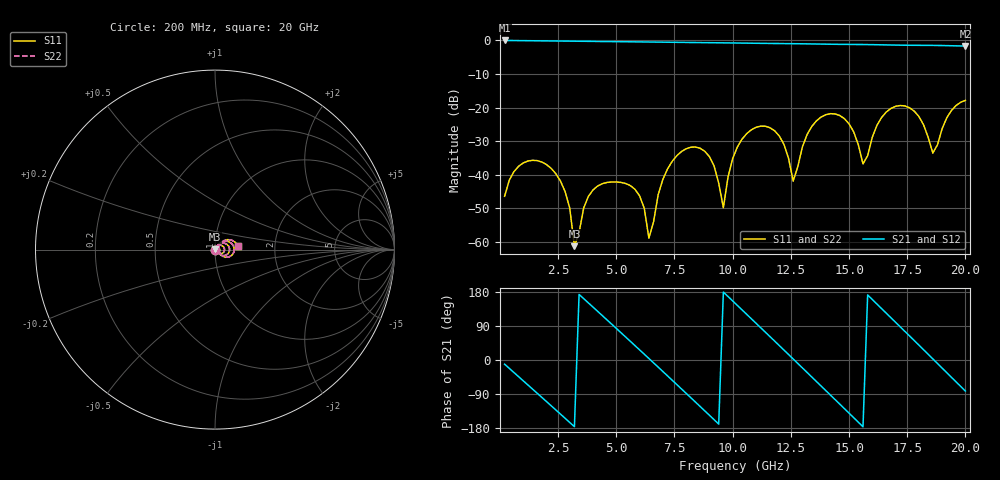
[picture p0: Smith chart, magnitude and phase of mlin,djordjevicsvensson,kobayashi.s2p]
! Created Wed May 11 08:06:12 2022
# hz S ma R 50
! 2 Port Network Data from SP1.SP block
! freq  magS11  angS11  magS21  angS21  magS12  angS12  magS22  angS22
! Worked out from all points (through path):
!   100 points, 200 MHz to 20 GHz, reference 50 ohm
!   highest |S21| = -0.02 dB at 200 MHz (marker M1); lowest = -1.7 dB at 20 GHz (marker M2)
!   group delay of S21, straight-line fit = 162 ps
!   lowest |S11| = -61.2 dB at 3.2 GHz (marker M3), VSWR 1.00, Z = 50 + j0.0827 ohm
!   |S11| at or under -10 dB: start of sweep to end of sweep
!   |S22| runs from -61.2 to -17.9 dB; largest |S21 - S12| = 0
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2e8  0.004788 -117.1  0.9981 -11.0  0.9981 -11.0  0.004788 -117.1
2e9  0.0142 130.0  0.9833 -109.7  0.9833 -109.7  0.0142 130.0
2.8e9  0.005627 81.3  0.9767 -153.8  0.9767 -153.8  0.005627 81.3
3.2e9  0.0008668 72.4  0.9734 -176.0  0.9734 -176.0  0.0008668 72.4
3.6e9  0.003233 -162.8  0.9701 161.8  0.9701 161.8  0.003233 -162.8
5e9  0.007823 78.1  0.9585 83.4  0.9585 83.4  0.007823 78.1
6e9  0.004868 -10.6  0.95 26.8  0.95 26.8  0.004868 -10.6
6.4e9  0.001141 -10.4  0.9467 4.0  0.9467 4.0  0.001141 -10.4
6.8e9  0.005071 91.9  0.9433 -18.9  0.9433 -18.9  0.005071 91.9
8.2e9  0.02573 8.7  0.9311 -99.4  0.9311 -99.4  0.02573 8.7
9e9  0.01864 -35.5  0.9244 -145.8  0.9244 -145.8  0.01864 -35.5
9.6e9  0.003242 19.7  0.9195 179.3  0.9195 179.3  0.003242 19.7
1.02e10  0.02582 57.4  0.9142 144.2  0.9142 144.2  0.02582 57.4
1.16e10  0.05027 -17.2  0.9011 61.9  0.9011 61.9  0.05027 -17.2
1.26e10  0.008053 -13.7  0.8938 2.7  0.8938 2.7  0.008053 -13.7
1.34e10  0.0525 44.2  0.886 -44.9  0.886 -44.9  0.0525 44.2
1.44e10  0.08053 -7.2  0.8755 -104.4  0.8755 -104.4  0.08053 -7.2
1.54e10  0.02791 -43.4  0.8694 -164.2  0.8694 -164.2  0.02791 -43.4
1.56e10  0.01452 -16.7  0.868 -176.2  0.868 -176.2  0.01452 -16.7
1.68e10  0.09714 22.2  0.8542 111.5  0.8542 111.5  0.09714 22.2
1.86e10  0.02106 -10.7  0.8425 3.0  0.8425 3.0  0.02106 -10.7
2e10  0.128 9.9  0.8243 -81.9  0.8243 -81.9  0.128 9.9
